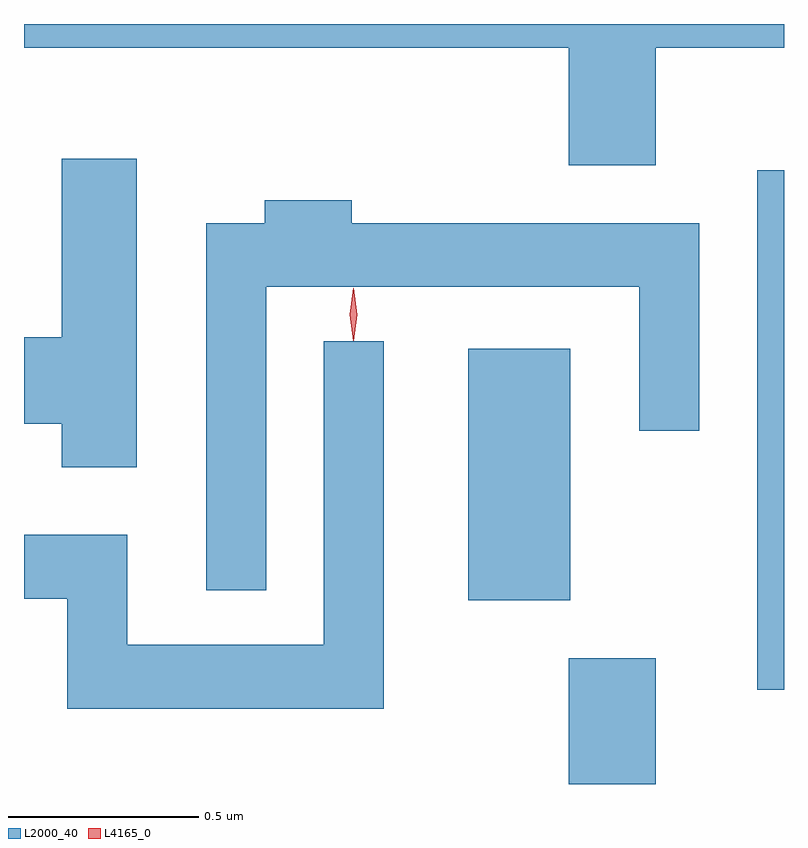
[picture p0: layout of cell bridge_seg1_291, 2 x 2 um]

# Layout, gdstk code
import gdstk
lib = gdstk.Library(unit=1e-6, precision=1e-09)
def R(c, l, rs):  # rectangles x0, y0, x1, y1
    for r in rs: c.add(gdstk.rectangle(r[:2], r[2:], *l))
def P(c, l, *ps):  # polygons
    for p in ps: c.add(gdstk.Polygon(p, *l))
L2000_40 = (2000, 40)
L4165_0 = (4165, 0)

bridge_seg1_291 = lib.new_cell('bridge_seg1_291')
R(bridge_seg1_291, L2000_40, [(870.051,902.078,870.279,902.409), (870.546,902.326,870.617,903.693), (869.786,902.561,870.054,903.224)])
P(bridge_seg1_291, L2000_40, [(870.279,904.016),(870.617,904.016),(870.617,904.078),(868.617,904.078),(868.617,904.016),(870.051,904.016),(870.051,903.706),(870.279,903.706)],
  [(868.914,903.724),(868.716,903.724),(868.716,903.254),(868.617,903.254),(868.617,903.026),(868.716,903.026),(868.716,902.911),(868.914,902.911)],
  [(869.254,903.386),(870.236,903.386),(870.236,903.008),(870.394,903.008),(870.394,903.554),(869.479,903.554),(869.479,903.614),(869.251,903.614),(869.251,903.554),(869.096,903.554),(869.096,902.588),(869.254,902.588)],
  [(869.564,903.243),(869.406,903.243),(869.406,902.444),(868.889,902.444),(868.889,902.734),(868.617,902.734),(868.617,902.566),(868.731,902.566),(868.731,902.276),(869.564,902.276)])
P(bridge_seg1_291, L4165_0, [(869.484,903.244),(869.484,903.244),(869.474,903.313),(869.484,903.383),(869.484,903.383),(869.485,903.383),(869.494,903.313),(869.485,903.244)],
  [(869.484,903.247),(869.483,903.248),(869.474,903.314),(869.483,903.38),(869.483,903.38),(869.484,903.38),(869.493,903.314),(869.484,903.248)])

lib.write_gds('bridge_seg1_291.gds')
